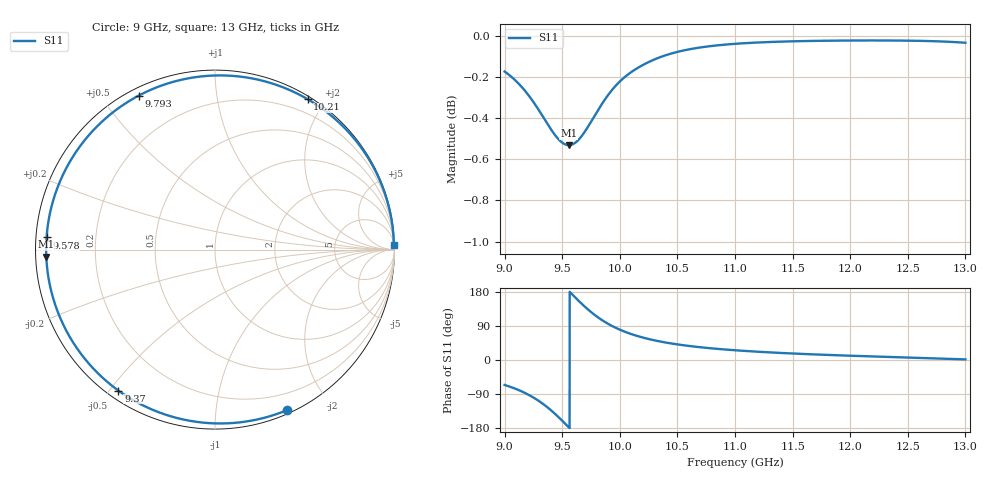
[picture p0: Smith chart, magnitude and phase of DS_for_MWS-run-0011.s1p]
! TOUCHSTONE file generated by CST DESIGN STUDIO
! Date and time: Tue Feb  4 14:21:00 2025
! Project name: C:\Work\MatlabApps\UnitCellOptimizationMatlab\CST\unitcell.cst
! Tree item: Tasks\Sweep1\SPara1\S-Parameters
! Header version: 2024
! Port assignment regex: !\s*Touchstone port\s*([0-9]+)\s*=\s*(CST MWS port|CST DES external port|CST DES block port)\s*(.+)\s* \(\"(.*)\"\)(\s*mode\s*([0-9]+))?.*
! Touchstone port assignment:
! Touchstone port 1 = CST DES external port 1 ("")
# GHz S MA R 50
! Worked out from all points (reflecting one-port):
!   4001 points, 9 GHz to 13 GHz, reference 50 ohm
!   lowest |S11| = -0.5 dB at 9.557 GHz (marker M1), VSWR 32.72, Z = 1.53 - j1.04 ohm
!   phase of S11 starts at -66 deg and turns -293 deg over the sweep
!   S11 on the Smith chart (normalised r, x): 9 GHz: 0.03, -1.54; 9.37 GHz: 0.03, -0.53; 9.578 GHz: 0.03, +0.04; 9.793 GHz: 0.03, +0.62; 10.21 GHz: 0.03, +1.79; 13 GHz: 10, +70
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9  0.9803 -65.8
9.043  0.9782 -70.1
9.11  0.9744 -77.8
9.223  0.9661 -94.3
9.301  0.9589 -108.9
9.37  0.9521 -124.4
9.433  0.9464 -140.8
9.5  0.942 -160.1
9.557  0.9407 -177.6
9.578  0.9409 175.9
9.632  0.9429 159.3
9.692  0.9474 141.9
9.742  0.9522 128.6
9.793  0.9575 116.4
9.837  0.9619 107.0
9.885  0.9663 97.8
9.938  0.9706 89.0
10  0.9748 80.1
10.1  0.98 68.4
10.211  0.9842 58.3
10.344  0.988 49.2
10.5  0.9911 41.2
10.72  0.9938 33.0
11  0.9956 25.7
11.5  0.997 17.1
12  0.9974 11.3
12.5  0.9973 6.5
13  0.9962 1.6
